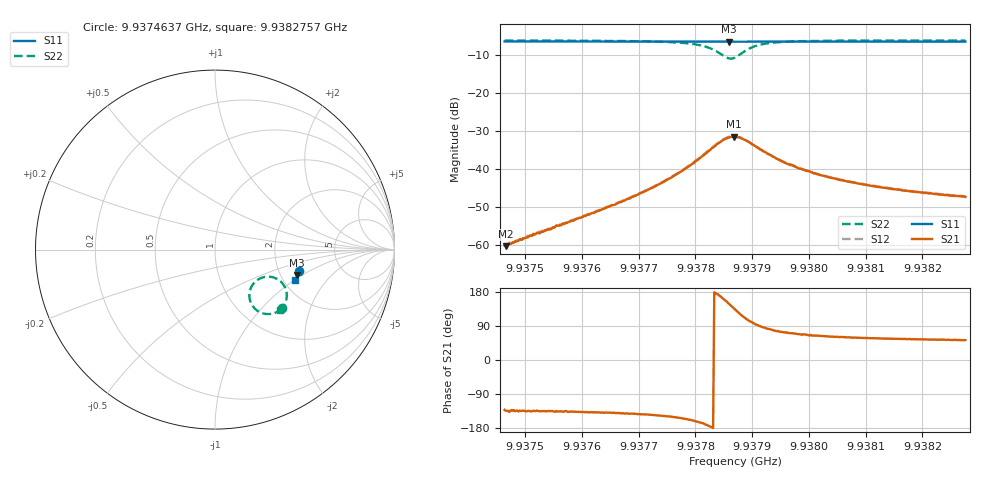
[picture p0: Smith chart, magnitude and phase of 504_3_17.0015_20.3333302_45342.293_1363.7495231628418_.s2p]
#  HZ  S  RI  R  50.00
! Rohde & Schwarz Vector Network Analyzer
! Rohde-Schwarz,ZNB20-2Port,1311601062101988,3.16
! Created: UTC 3/20/2024, 11:14:44 PM
! freq[Hz]  re:S11  im:S11  re:S21  im:S21  re:S12  im:S12  re:S22  im:S22
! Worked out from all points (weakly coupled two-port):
!   401 points, 9.9374637 GHz to 9.9382757 GHz, reference 50 ohm
!   highest |S21| = -31.46 dB at 9.9378677 GHz (marker M1); lowest = -60.4 dB at 9.9374658 GHz (marker M2)
!   lowest |S11| = -6.4 dB at 9.9378596 GHz (marker M3), VSWR 2.83, Z = 122 - j45.4 ohm
!   |S11| at or under -10 dB: nowhere
!   |S22| runs from -10.9 to -6.1 dB; largest |S21 - S12| = 0.0011
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9.93746374e9  0.4681 -0.1193  -0.00064 -0.000725  -0.000673 -0.00069  0.3732 -0.3276
9.93746577e9  0.4678 -0.1193  -0.000661 -0.000683  -0.000721 -0.000708  0.373 -0.3279
9.93751854e9  0.4667 -0.1229  -0.000963 -0.00098  -0.00097 -0.000993  0.368 -0.3323
9.93759974e9  0.4648 -0.1283  -0.00169 -0.00155  -0.00172 -0.00154  0.3576 -0.3399
9.93767078e9  0.4632 -0.1331  -0.00286 -0.00235  -0.00295 -0.00236  0.3436 -0.3479
9.93773574e9  0.4613 -0.1376  -0.00522 -0.00347  -0.00534 -0.0034  0.3205 -0.3565
9.93778039e9  0.4599 -0.1406  -0.0089 -0.00418  -0.00916 -0.0041  0.2879 -0.3591
9.93781693e9  0.4581 -0.143  -0.0155 -0.00281  -0.0159 -0.00262  0.2358 -0.3406
9.93783114e9  0.4574 -0.1437  -0.0191 -0.00018  -0.0196 0.000366  0.2094 -0.3138
9.93784332e9  0.4567 -0.144  -0.022 0.00432  -0.0225 0.00507  0.1929 -0.2733
9.93785956e9  0.456 -0.1438  -0.0219 0.0139  -0.022 0.0149  0.2073 -0.1994
9.93786768e9  0.456 -0.1438  -0.0193 0.0185  -0.0189 0.0194  0.2372 -0.1688
9.93786971e9  0.4561 -0.1437  -0.0183 0.0193  -0.0179 0.0202  0.246 -0.1633
9.93787986e9  0.4564 -0.1439  -0.0126 0.0221  -0.0122 0.0229  0.2939 -0.1508
9.93789407e9  0.457 -0.1447  -0.00534 0.0221  -0.00493 0.0222  0.3487 -0.1652
9.93791639e9  0.4572 -0.1467  0.000713 0.0177  0.00125 0.0178  0.3889 -0.2078
9.93795902e9  0.4566 -0.1499  0.00364 0.0114  0.00382 0.0114  0.4 -0.2626
9.93800571e9  0.4555 -0.1534  0.00385 0.00804  0.00397 0.00809  0.394 -0.2913
9.93806863e9  0.4538 -0.1577  0.00342 0.00587  0.00356 0.00588  0.3851 -0.3108
9.93814171e9  0.4519 -0.1625  0.00307 0.00455  0.00315 0.0046  0.3766 -0.3238
9.93819651e9  0.4504 -0.166  0.00282 0.00398  0.00294 0.00398  0.3712 -0.3306
9.93827568e9  0.4482 -0.1711  0.00257 0.00338  0.00268 0.00341  0.3644 -0.3382
